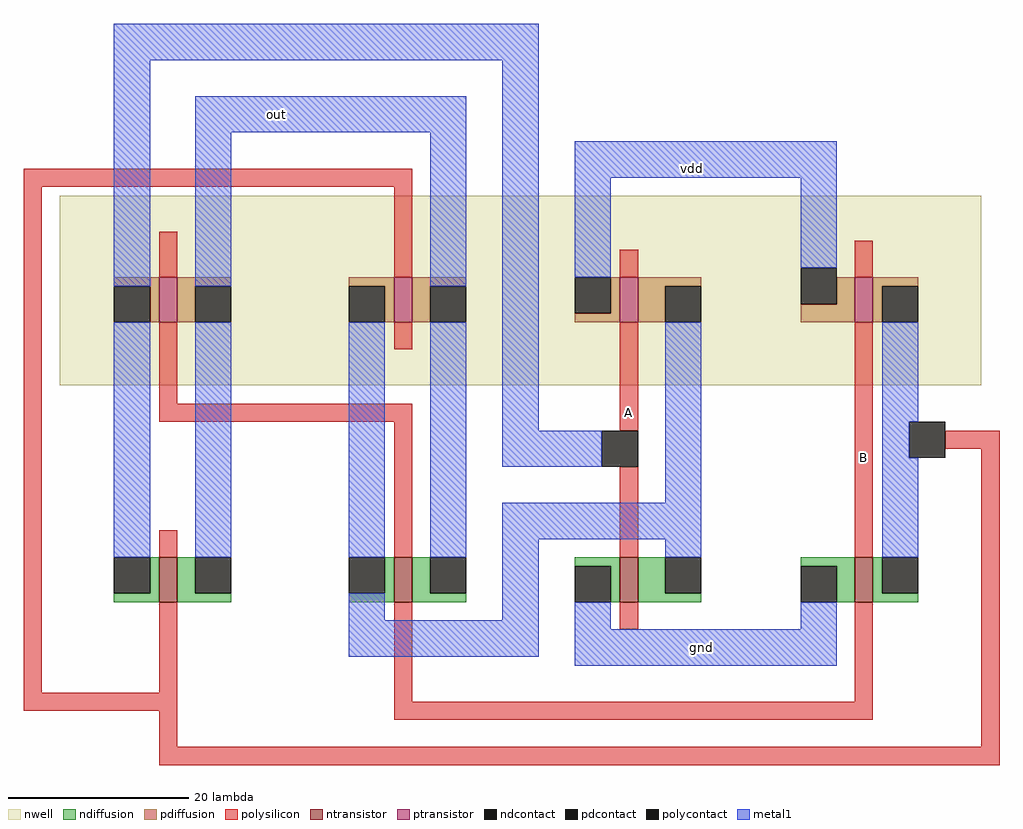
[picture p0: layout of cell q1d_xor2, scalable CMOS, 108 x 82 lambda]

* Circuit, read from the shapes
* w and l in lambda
.subckt q1d_xor2 A B gnd out vdd
M1 out n1 A VSUBS nfet w=5 l=2
M2 out B n2 VSUBS nfet w=5 l=2
M3 n2 A gnd VSUBS nfet w=5 l=2
M4 n1 B gnd VSUBS nfet w=5 l=2
M5 out B A n3 pfet w=5 l=2
M6 out n1 n2 n3 pfet w=5 l=2
M7 n2 A vdd n3 pfet w=5 l=2
M8 n1 B vdd n3 pfet w=5 l=2
.ends

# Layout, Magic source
magic
tech scmos
<< nwell >>
rect 66 -15 168 6
<< ntransistor >>
rect 77 -39 79 -34
rect 103 -39 105 -34
rect 128 -39 130 -34
rect 154 -39 156 -34
<< ptransistor >>
rect 77 -8 79 -3
rect 103 -8 105 -3
rect 128 -8 130 -3
rect 154 -8 156 -3
<< ndiffusion >>
rect 76 -38 77 -34
rect 72 -39 77 -38
rect 79 -38 81 -34
rect 79 -39 85 -38
rect 102 -38 103 -34
rect 98 -39 103 -38
rect 105 -38 107 -34
rect 105 -39 111 -38
rect 123 -35 128 -34
rect 127 -39 128 -35
rect 130 -38 133 -34
rect 130 -39 137 -38
rect 148 -35 154 -34
rect 152 -39 154 -35
rect 156 -38 157 -34
rect 156 -39 161 -38
<< pdiffusion >>
rect 72 -4 77 -3
rect 76 -8 77 -4
rect 79 -4 85 -3
rect 79 -8 81 -4
rect 98 -4 103 -3
rect 102 -8 103 -4
rect 105 -4 111 -3
rect 105 -8 107 -4
rect 127 -7 128 -3
rect 123 -8 128 -7
rect 130 -4 137 -3
rect 130 -8 133 -4
rect 152 -6 154 -3
rect 148 -8 154 -6
rect 156 -4 161 -3
rect 156 -8 157 -4
<< ndcontact >>
rect 72 -38 76 -34
rect 81 -38 85 -34
rect 98 -38 102 -34
rect 107 -38 111 -34
rect 123 -39 127 -35
rect 133 -38 137 -34
rect 148 -39 152 -35
rect 157 -38 161 -34
<< pdcontact >>
rect 72 -8 76 -4
rect 81 -8 85 -4
rect 98 -8 102 -4
rect 107 -8 111 -4
rect 123 -7 127 -3
rect 133 -8 137 -4
rect 148 -6 152 -2
rect 157 -8 161 -4
<< polysilicon >>
rect 62 7 105 9
rect 62 -49 64 7
rect 77 -3 79 2
rect 103 -3 105 7
rect 128 -3 130 0
rect 154 -3 156 1
rect 77 -17 79 -8
rect 103 -11 105 -8
rect 77 -19 105 -17
rect 77 -34 79 -31
rect 103 -34 105 -19
rect 128 -20 130 -8
rect 128 -34 130 -24
rect 154 -34 156 -8
rect 164 -22 170 -20
rect 77 -49 79 -39
rect 62 -51 79 -49
rect 77 -55 79 -51
rect 103 -50 105 -39
rect 128 -42 130 -39
rect 154 -50 156 -39
rect 103 -52 156 -50
rect 168 -55 170 -22
rect 77 -57 170 -55
<< polycontact >>
rect 126 -24 130 -20
rect 160 -23 164 -19
<< metal1 >>
rect 72 21 119 25
rect 72 -4 76 21
rect 72 -34 76 -8
rect 81 13 111 17
rect 81 -4 85 13
rect 107 -4 111 13
rect 81 -34 85 -8
rect 98 -34 102 -8
rect 107 -34 111 -8
rect 115 -20 119 21
rect 123 8 152 12
rect 123 -3 127 8
rect 148 -2 152 8
rect 115 -24 126 -20
rect 133 -28 137 -8
rect 115 -32 137 -28
rect 98 -41 102 -38
rect 115 -41 119 -32
rect 133 -34 137 -32
rect 98 -45 119 -41
rect 157 -19 161 -8
rect 157 -23 160 -19
rect 157 -34 161 -23
rect 123 -42 127 -39
rect 148 -42 152 -39
rect 123 -46 152 -42
<< labels >>
rlabel polysilicon 129 -18 129 -18 1 A
rlabel polysilicon 155 -23 155 -23 1 B
rlabel metal1 137 -44 137 -44 1 gnd
rlabel metal1 136 9 136 9 1 vdd
rlabel metal1 90 15 90 15 1 out
<< end >>
